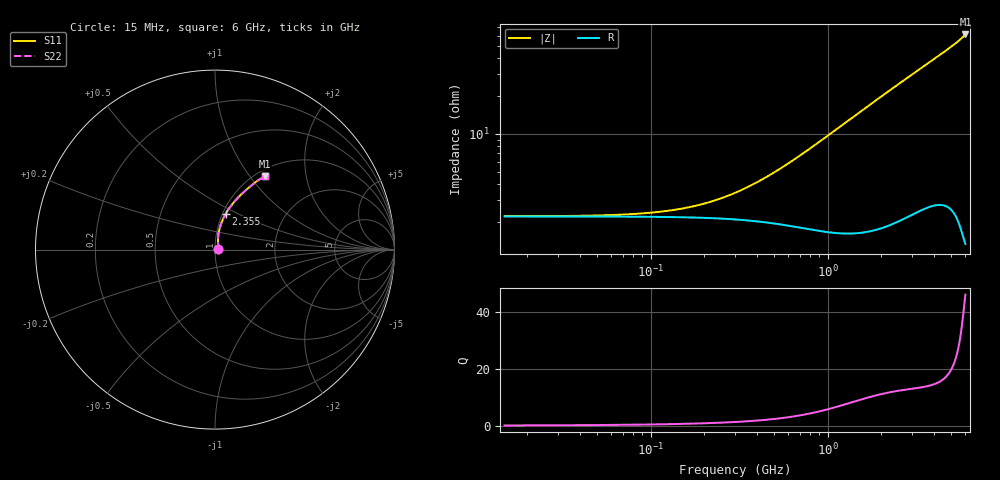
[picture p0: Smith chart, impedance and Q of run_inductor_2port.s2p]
#  Hz  S  RI  R  50
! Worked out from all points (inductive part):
!   400 points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, 15 MHz to 6 GHz, reference 50 ohm
!   read as one part in series: L = 1.5 nH near 615 MHz
!   highest Q = 46.3 at 6 GHz (marker M1), where L = 1.63 nH
!   S11 on the Smith chart (normalised r, x): 15 MHz: 1.04, +0.00; 2.355 GHz: 1.04, +0.43; 6 GHz: 1.10, +1.19
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1.5e7  0.0188 0.00108  0.9757 -0.00144  0.9757 -0.00144  0.0188 0.00108
4.5e7  0.0188 0.00324  0.9757 -0.00431  0.9757 -0.00431  0.0188 0.00324
9e7  0.0187 0.0065  0.9757 -0.00863  0.9757 -0.00863  0.0187 0.0065
1.65e8  0.0185 0.012  0.9757 -0.0158  0.9757 -0.0158  0.0184 0.012
2.25e8  0.0182 0.0165  0.9757 -0.0217  0.9757 -0.0217  0.0182 0.0165
4.8e8  0.0168 0.0368  0.975 -0.0468  0.975 -0.0468  0.0168 0.0368
5.7e8  0.0166 0.0445  0.9745 -0.0558  0.9745 -0.0558  0.0166 0.0445
6.75e8  0.0165 0.0537  0.9736 -0.0664  0.9736 -0.0664  0.0165 0.0536
8.4e8  0.0172 0.0685  0.9716 -0.0831  0.9716 -0.0831  0.0172 0.0684
1.02e9  0.0189 0.0849  0.9686 -0.1012  0.9686 -0.1012  0.019 0.0848
1.23e9  0.0223 0.104  0.9641 -0.1222  0.9641 -0.1222  0.0224 0.1039
1.47e9  0.0278 0.1255  0.9575 -0.1457  0.9575 -0.1457  0.0279 0.1254
1.725e9  0.0353 0.1477  0.9492 -0.1699  0.9492 -0.1699  0.0353 0.1476
2.01e9  0.0453 0.1715  0.9384 -0.196  0.9384 -0.196  0.0453 0.1714
2.355e9  0.0593 0.1988  0.9236 -0.226  0.9236 -0.226  0.0594 0.1987
2.67e9  0.0736 0.2222  0.9088 -0.2519  0.9088 -0.2519  0.0737 0.222
3.015e9  0.0906 0.2461  0.8913 -0.2786  0.8913 -0.2786  0.0906 0.2459
3.48e9  0.115 0.2757  0.8664 -0.3119  0.8664 -0.3119  0.1151 0.2754
4.005e9  0.1441 0.3059  0.837 -0.3465  0.837 -0.3465  0.1443 0.3056
5.01e9  0.2036 0.3581  0.7777 -0.4078  0.7777 -0.4078  0.2038 0.3577
5.595e9  0.2433 0.388  0.7379 -0.4442  0.7379 -0.4442  0.2436 0.3875
6e9  0.2782 0.4086  0.7019 -0.4703  0.7019 -0.4703  0.2785 0.4081
